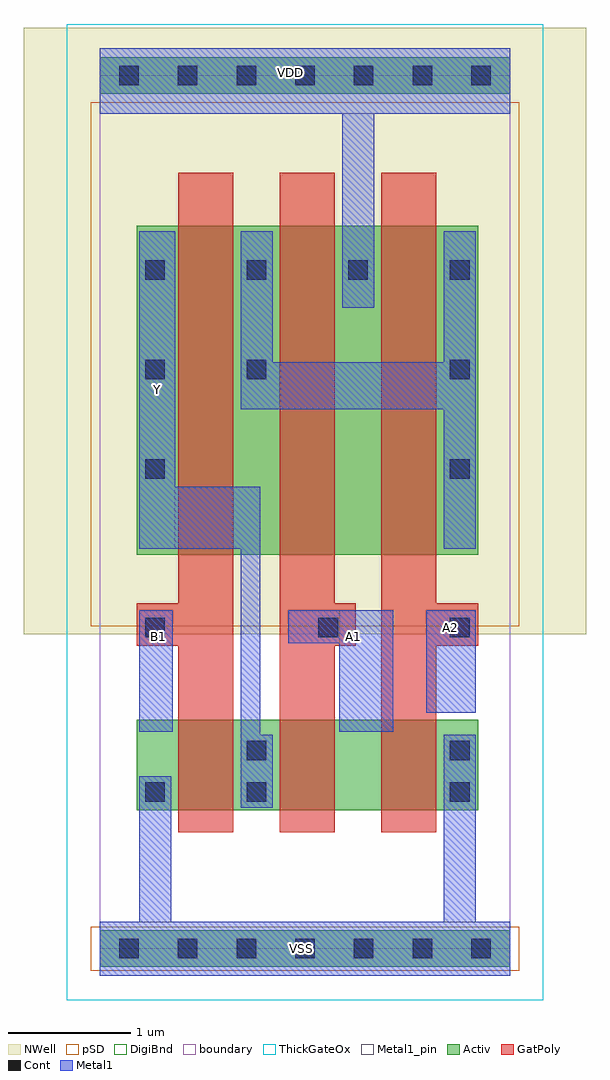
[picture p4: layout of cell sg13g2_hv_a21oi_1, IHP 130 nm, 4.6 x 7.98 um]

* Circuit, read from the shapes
.subckt sg13g2_hv_a21oi_1 A1 A2 B1 VDD VSS Y
XM1 Y B1 VSS VSS sg13_hv_nmos w=0.74u l=0.45u
XM2 n1 A1 Y VSS sg13_hv_nmos w=0.74u l=0.45u
XM3 VSS A2 n1 VSS sg13_hv_nmos w=0.74u l=0.45u
XM4 n2 B1 Y VDD sg13_hv_pmos w=2.69u l=0.45u
XM5 VDD A1 n2 VDD sg13_hv_pmos w=2.69u l=0.45u
XM6 n2 A2 VDD VDD sg13_hv_pmos w=2.69u l=0.45u
.ends

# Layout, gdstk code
import gdstk
lib = gdstk.Library(unit=1e-6, precision=1e-09)
def R(c, l, rs):  # rectangles x0, y0, x1, y1
    for r in rs: c.add(gdstk.rectangle(r[:2], r[2:], *l))
def A(c, l, x, y, w, h, nx, ny, dx, dy):  # array of equal rectangles
    R(c, l, [(x+i*dx, y+j*dy, x+i*dx+w, y+j*dy+h) for i in range(nx) for j in range(ny)])
def P(c, l, *ps):  # polygons
    for p in ps: c.add(gdstk.Polygon(p, *l))
Activ = (1, 0)
GatPoly = (5, 0)
Cont = (6, 0)
Metal1 = (8, 0)
Metal1_pin = (8, 2)
pSD = (14, 0)
DigiBnd = (16, 0)
NWell = (31, 0)
ThickGateOx = (44, 0)
boundary = (189, 4)

sg13g2_hv_a21oi_1 = lib.new_cell('sg13g2_hv_a21oi_1')
R(sg13g2_hv_a21oi_1, Activ, [(0,-0.15,3.36,0.15), (0.305,1.13,3.095,1.87), (0.305,3.22,3.095,5.91), (0,6.99,3.36,7.29)])
P(sg13g2_hv_a21oi_1, GatPoly, [(2.305,0.95),(2.305,6.345),(2.755,6.345),(2.755,2.825),(3.095,2.825),(3.095,2.475),(2.755,2.475),(2.755,0.95)],
  [(1.475,0.95),(1.475,6.345),(1.925,6.345),(1.925,2.825),(2.095,2.825),(2.095,2.475),(1.925,2.475),(1.925,0.95)],
  [(0.645,0.95),(0.645,2.475),(0.305,2.475),(0.305,2.825),(0.645,2.825),(0.645,6.345),(1.095,6.345),(1.095,0.95)])
A(sg13g2_hv_a21oi_1, Cont, 0.16, -0.08, 0.16, 0.16, 7, 2, 0.48, 7.14)
A(sg13g2_hv_a21oi_1, Cont, 0.375, 5.47, 0.16, 0.16, 4, 1, 0.83, 0)
R(sg13g2_hv_a21oi_1, Cont, [(0.375,1.2,0.535,1.36), (1.205,1.2,1.365,1.36), (2.865,1.2,3.025,1.36), (1.205,1.54,1.365,1.7), (2.865,1.54,3.025,1.7), (0.375,2.545,0.535,2.705), (1.79,2.545,1.95,2.705), (2.865,2.545,3.025,2.705), (0.375,3.84,0.535,4), (2.865,3.84,3.025,4), (0.375,4.655,0.535,4.815), (1.205,4.655,1.365,4.815), (2.865,4.655,3.025,4.815)])
R(sg13g2_hv_a21oi_1, Metal1, [(0.325,1.775,0.6,2.765), (2.22,1.775,2.4,2.765), (2.67,1.93,3.075,2.765)])
P(sg13g2_hv_a21oi_1, Metal1, [(1.985,5.24),(1.985,6.825),(0,6.825),(0,7.36),(3.36,7.36),(3.36,6.825),(2.245,6.825),(2.245,5.24)],
  [(2.815,3.27),(2.815,4.41),(1.155,4.41),(1.155,5.865),(1.415,5.865),(1.415,4.795),(2.815,4.795),(2.815,5.865),(3.075,5.865),(3.075,3.27)],
  [(1.96,1.775),(1.96,2.495),(1.545,2.495),(1.545,2.765),(2.22,2.765),(2.22,1.775)],
  [(0,-0.22),(0,0.22),(0.325,0.22),(0.325,1.41),(0.585,1.41),(0.585,0.22),(2.815,0.22),(2.815,1.75),(3.075,1.75),(3.075,0.22),(3.36,0.22),(3.36,-0.22)],
  [(1.155,1.15),(1.155,3.27),(0.325,3.27),(0.325,5.865),(0.62,5.865),(0.62,3.775),(1.315,3.775),(1.315,1.75),(1.415,1.75),(1.415,1.15)])
R(sg13g2_hv_a21oi_1, Metal1_pin, [(0,-0.22,3.36,0.22), (0.325,1.775,0.6,2.765), (1.96,1.775,2.22,2.765), (2.22,1.775,2.4,2.765), (2.67,1.93,3.075,2.765), (0.325,3.27,0.62,5.865), (0,6.825,3.36,7.36)])
R(sg13g2_hv_a21oi_1, pSD, [(-0.07,-0.18,3.43,0.18), (-0.07,2.635,3.43,6.92)])
R(sg13g2_hv_a21oi_1, DigiBnd, [(0,0,3.36,7.14)])
R(sg13g2_hv_a21oi_1, NWell, [(-0.62,2.57,3.98,7.53)])
R(sg13g2_hv_a21oi_1, ThickGateOx, [(-0.27,-0.42,3.63,7.56)])
R(sg13g2_hv_a21oi_1, boundary, [(0,0,3.36,7.14)])
sg13g2_hv_a21oi_1.add(gdstk.Label('VDD', (1.56,7.16), layer=8, texttype=25))
sg13g2_hv_a21oi_1.add(gdstk.Label('VSS', (1.65,0.005), layer=8, texttype=25))
sg13g2_hv_a21oi_1.add(gdstk.Label('A2', (2.87,2.625), layer=8, texttype=25))
sg13g2_hv_a21oi_1.add(gdstk.Label('A1', (2.08,2.555), layer=8, texttype=25))
sg13g2_hv_a21oi_1.add(gdstk.Label('B1', (0.48,2.555), layer=8, texttype=25))
sg13g2_hv_a21oi_1.add(gdstk.Label('Y', (0.47,4.57), layer=8, texttype=25))

lib.write_gds('sg13g2_hv_a21oi_1.gds')
